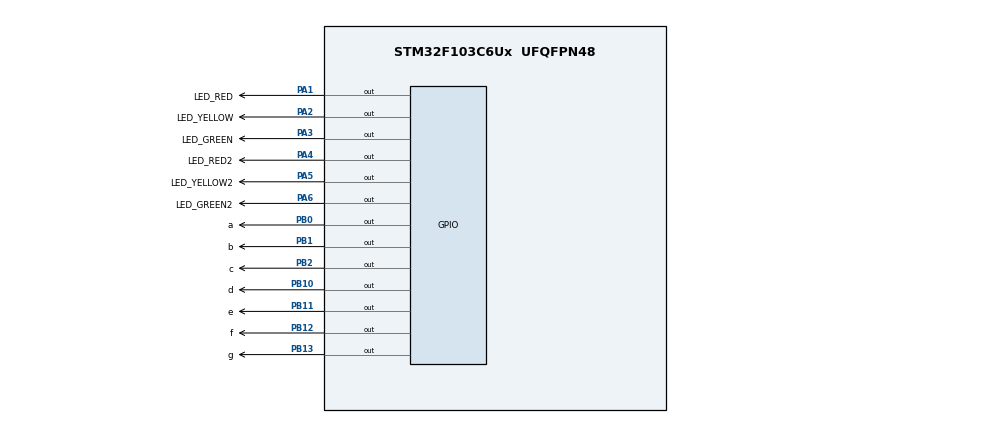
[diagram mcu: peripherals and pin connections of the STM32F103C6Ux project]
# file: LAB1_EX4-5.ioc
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Mcu.Family=STM32F1
Mcu.Name=STM32F103C6Ux
Mcu.Package=UFQFPN48
NVIC.PriorityGroup=NVIC_PRIORITYGROUP_4
PA1.GPIO_Label=LED_RED
PA1.Signal=GPIO_Output
PA2.GPIO_Label=LED_YELLOW
PA2.Signal=GPIO_Output
PA3.GPIO_Label=LED_GREEN
PA3.Signal=GPIO_Output
PA4.GPIO_Label=LED_RED2
PA4.Signal=GPIO_Output
PA5.GPIO_Label=LED_YELLOW2
PA5.Signal=GPIO_Output
PA6.GPIO_Label=LED_GREEN2
PA6.Signal=GPIO_Output
PB0.GPIO_Label=a
PB0.Signal=GPIO_Output
PB1.GPIO_Label=b
PB1.Signal=GPIO_Output
PB10.GPIO_Label=d
PB10.Signal=GPIO_Output
PB11.GPIO_Label=e
PB11.Signal=GPIO_Output
PB12.GPIO_Label=f
PB12.Signal=GPIO_Output
PB13.GPIO_Label=g
PB13.Signal=GPIO_Output
PB2.GPIO_Label=c
PB2.Signal=GPIO_Output
ProjectManager.HeapSize=0x200
ProjectManager.StackSize=0x400
ProjectManager.TargetToolchain=STM32CubeIDE
RCC.APB1Freq_Value=8000000
RCC.APB2Freq_Value=8000000
VP_SYS_VS_ND.Mode=No_Debug
board=custom

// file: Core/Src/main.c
/* USER CODE BEGIN Header */
/**
  ******************************************************************************
  * @file           : main.c
  * @brief          : Main program body
  ******************************************************************************
  * @attention
  *
  * <h2><center>&copy; Copyright (c) 2025 STMicroelectronics.
  * All rights reserved.</center></h2>
  *
  * This software component is licensed by ST under BSD 3-Clause license,
  * the "License"; You may not use this file except in compliance with the
  * License. You may obtain a copy of the License at:
  *                        opensource.org/licenses/BSD-3-Clause
  *
  ******************************************************************************
  */
/* USER CODE END Header */
#include "main.h"

void SystemClock_Config(void);
static void MX_GPIO_Init(void);

int main(void)
{

  /* MCU Configuration--------------------------------------------------------*/

  /* Reset of all peripherals, Initializes the Flash interface and the Systick. */
  HAL_Init();

  /* Configure the system clock */
  SystemClock_Config();

  /* Initialize all configured peripherals */
  MX_GPIO_Init();

  /* Infinite loop */
  /* USER CODE BEGIN WHILE */
  void display7SEG(int counter){
  	  switch(counter){
  	  	  case 0:
  	  		HAL_GPIO_WritePin(a_GPIO_Port,a_Pin,RESET);
  	  		HAL_GPIO_WritePin(b_GPIO_Port,b_Pin,RESET);
  	  		HAL_GPIO_WritePin(c_GPIO_Port,c_Pin,RESET);
  	  		HAL_GPIO_WritePin(d_GPIO_Port,d_Pin,RESET);
  	        HAL_GPIO_WritePin(e_GPIO_Port,e_Pin,RESET);
  	  	    HAL_GPIO_WritePin(f_GPIO_Port,f_Pin,RESET);
  	  		HAL_GPIO_WritePin(g_GPIO_Port,g_Pin,SET);
  	  		  break;
  	  	  case 1:
  	  	 	HAL_GPIO_WritePin(a_GPIO_Port,a_Pin,SET);
  	  	 	HAL_GPIO_WritePin(b_GPIO_Port,b_Pin,RESET);
  	  	 	HAL_GPIO_WritePin(c_GPIO_Port,c_Pin,RESET);
  	  	 	HAL_GPIO_WritePin(d_GPIO_Port,d_Pin,SET);
  	  	 	HAL_GPIO_WritePin(e_GPIO_Port,e_Pin,SET);
  	  	    HAL_GPIO_WritePin(f_GPIO_Port,f_Pin,SET);
  	  	 	HAL_GPIO_WritePin(g_GPIO_Port,g_Pin,SET);
  	  	 		  break;
  	  	  case 2:
  	  	 	HAL_GPIO_WritePin(a_GPIO_Port,a_Pin,RESET);
  	  	 	HAL_GPIO_WritePin(b_GPIO_Port,b_Pin,RESET);
  	  	 	HAL_GPIO_WritePin(c_GPIO_Port,c_Pin,SET);
  	  	 	HAL_GPIO_WritePin(d_GPIO_Port,d_Pin,RESET);
  	  	 	HAL_GPIO_WritePin(e_GPIO_Port,e_Pin,RESET);
  	  	 	HAL_GPIO_WritePin(f_GPIO_Port,f_Pin,SET);
  	  	 	HAL_GPIO_WritePin(g_GPIO_Port,g_Pin,RESET);
  	  	 		  break;
  	  	  case 3:
  	  	 	HAL_GPIO_WritePin(a_GPIO_Port,a_Pin,RESET);
  	  	 	HAL_GPIO_WritePin(b_GPIO_Port,b_Pin,RESET);
  	  	 	HAL_GPIO_WritePin(c_GPIO_Port,c_Pin,RESET);
  	  	 	HAL_GPIO_WritePin(d_GPIO_Port,d_Pin,RESET);
  	  	 	HAL_GPIO_WritePin(e_GPIO_Port,e_Pin,SET);
  	  	 	HAL_GPIO_WritePin(f_GPIO_Port,f_Pin,SET);
  	  	 	HAL_GPIO_WritePin(g_GPIO_Port,g_Pin,RESET);
  	  	 		  break;
  	  	  case 4:
  	  	 	HAL_GPIO_WritePin(a_GPIO_Port,a_Pin,SET);
  	  	 	HAL_GPIO_WritePin(b_GPIO_Port,b_Pin,RESET);
  	  	 	HAL_GPIO_WritePin(c_GPIO_Port,c_Pin,RESET);
  	  	 	HAL_GPIO_WritePin(d_GPIO_Port,d_Pin,SET);
  	  	 	HAL_GPIO_WritePin(e_GPIO_Port,e_Pin,SET);
  	  	 	HAL_GPIO_WritePin(f_GPIO_Port,f_Pin,RESET);
  	  	 	HAL_GPIO_WritePin(g_GPIO_Port,g_Pin,RESET);
  	  	 	 		  break;
  	  	  case 5:
       		HAL_GPIO_WritePin(a_GPIO_Port,a_Pin,RESET);
  	  	 	HAL_GPIO_WritePin(b_GPIO_Port,b_Pin,SET);
  	  	 	HAL_GPIO_WritePin(c_GPIO_Port,c_Pin,RESET);
  	  	 	HAL_GPIO_WritePin(d_GPIO_Port,d_Pin,RESET);
  	  	 	HAL_GPIO_WritePin(e_GPIO_Port,e_Pin,SET);
  	  	 	HAL_GPIO_WritePin(f_GPIO_Port,f_Pin,RESET);
  	  	 	HAL_GPIO_WritePin(g_GPIO_Port,g_Pin,RESET);
  	  	 	 		  break;
  }
}

void Light1(GPIO_PinState green, GPIO_PinState yellow, GPIO_PinState red)
   {
       HAL_GPIO_WritePin(LED_GREEN_GPIO_Port, LED_GREEN_Pin, green);
       HAL_GPIO_WritePin(LED_YELLOW_GPIO_Port, LED_YELLOW_Pin, yellow);
       HAL_GPIO_WritePin(LED_RED_GPIO_Port, LED_RED_Pin, red);
   }

   void Light2(GPIO_PinState green, GPIO_PinState yellow, GPIO_PinState red)
   {
       HAL_GPIO_WritePin(LED_GREEN2_GPIO_Port, LED_GREEN2_Pin, green);
       HAL_GPIO_WritePin(LED_YELLOW2_GPIO_Port, LED_YELLOW2_Pin, yellow);
       HAL_GPIO_WritePin(LED_RED2_GPIO_Port, LED_RED2_Pin, red);
   }

   int counter=5;
   int state=0;

  while (1) {

	  if(counter<0 && state == 0) counter=5;
	  if(counter<0 && state == 1) counter=3;
	  if(counter<0 && state == 2) counter=2;
  display7SEG(counter);
  if(counter>3&state==0){
	 Light1(GPIO_PIN_SET,GPIO_PIN_SET,GPIO_PIN_RESET);
     Light2(GPIO_PIN_RESET,GPIO_PIN_SET,GPIO_PIN_SET);
  }
  else if(counter<3&&state==0){
	 Light1(GPIO_PIN_SET,GPIO_PIN_SET,GPIO_PIN_RESET);
     Light2(GPIO_PIN_SET,GPIO_PIN_RESET,GPIO_PIN_SET);
  if(counter==0)
	  state=1;
  }

  else if(state==1){
     Light1(GPIO_PIN_RESET,GPIO_PIN_SET,GPIO_PIN_SET);
     Light2(GPIO_PIN_SET,GPIO_PIN_SET,GPIO_PIN_RESET);
     if(counter==0)state=2;
  }
  else if(state==2){
	 Light1(GPIO_PIN_SET,GPIO_PIN_RESET,GPIO_PIN_SET);
	 Light2(GPIO_PIN_SET,GPIO_PIN_SET,GPIO_PIN_RESET);
  if(counter==0) state=0; }
  counter--;
  HAL_Delay(1000);
    /* USER CODE END WHILE */

  }
}

void SystemClock_Config(void)
{
  RCC_OscInitTypeDef RCC_OscInitStruct = {0};
  RCC_ClkInitTypeDef RCC_ClkInitStruct = {0};

  /** Initializes the RCC Oscillators according to the specified parameters
  * in the RCC_OscInitTypeDef structure.
  */
  RCC_OscInitStruct.OscillatorType = RCC_OSCILLATORTYPE_HSI;
  RCC_OscInitStruct.HSIState = RCC_HSI_ON;
  RCC_OscInitStruct.HSICalibrationValue = RCC_HSICALIBRATION_DEFAULT;
  RCC_OscInitStruct.PLL.PLLState = RCC_PLL_NONE;
  if (HAL_RCC_OscConfig(&RCC_OscInitStruct) != HAL_OK)
  {
    Error_Handler();
  }
  /** Initializes the CPU, AHB and APB buses clocks
  */
  RCC_ClkInitStruct.ClockType = RCC_CLOCKTYPE_HCLK|RCC_CLOCKTYPE_SYSCLK
                              |RCC_CLOCKTYPE_PCLK1|RCC_CLOCKTYPE_PCLK2;
  RCC_ClkInitStruct.SYSCLKSource = RCC_SYSCLKSOURCE_HSI;
  RCC_ClkInitStruct.AHBCLKDivider = RCC_SYSCLK_DIV1;
  RCC_ClkInitStruct.APB1CLKDivider = RCC_HCLK_DIV1;
  RCC_ClkInitStruct.APB2CLKDivider = RCC_HCLK_DIV1;

  if (HAL_RCC_ClockConfig(&RCC_ClkInitStruct, FLASH_LATENCY_0) != HAL_OK)
  {
    Error_Handler();
  }
}

static void MX_GPIO_Init(void)
{
  GPIO_InitTypeDef GPIO_InitStruct = {0};

  /* GPIO Ports Clock Enable */
  __HAL_RCC_GPIOA_CLK_ENABLE();
  __HAL_RCC_GPIOB_CLK_ENABLE();

  /*Configure GPIO pin Output Level */
  HAL_GPIO_WritePin(GPIOA, LED_RED_Pin|LED_YELLOW_Pin|LED_GREEN_Pin|LED_RED2_Pin
                          |LED_YELLOW2_Pin|LED_GREEN2_Pin, GPIO_PIN_RESET);

  /*Configure GPIO pin Output Level */
  HAL_GPIO_WritePin(GPIOB, a_Pin|b_Pin|c_Pin|d_Pin
                          |e_Pin|f_Pin|g_Pin, GPIO_PIN_RESET);

  /*Configure GPIO pins : LED_RED_Pin LED_YELLOW_Pin LED_GREEN_Pin LED_RED2_Pin
                           LED_YELLOW2_Pin LED_GREEN2_Pin */
  GPIO_InitStruct.Pin = LED_RED_Pin|LED_YELLOW_Pin|LED_GREEN_Pin|LED_RED2_Pin
                          |LED_YELLOW2_Pin|LED_GREEN2_Pin;
  GPIO_InitStruct.Mode = GPIO_MODE_OUTPUT_PP;
  GPIO_InitStruct.Pull = GPIO_NOPULL;
  GPIO_InitStruct.Speed = GPIO_SPEED_FREQ_LOW;
  HAL_GPIO_Init(GPIOA, &GPIO_InitStruct);

  /*Configure GPIO pins : a_Pin b_Pin c_Pin d_Pin
                           e_Pin f_Pin g_Pin */
  GPIO_InitStruct.Pin = a_Pin|b_Pin|c_Pin|d_Pin
                          |e_Pin|f_Pin|g_Pin;
  GPIO_InitStruct.Mode = GPIO_MODE_OUTPUT_PP;
  GPIO_InitStruct.Pull = GPIO_NOPULL;
  GPIO_InitStruct.Speed = GPIO_SPEED_FREQ_LOW;
  HAL_GPIO_Init(GPIOB, &GPIO_InitStruct);

}

void Error_Handler(void)
{
  __disable_irq();
  while (1)
  {
  }
}

/************************ (C) COPYRIGHT STMicroelectronics *****END OF FILE****/
